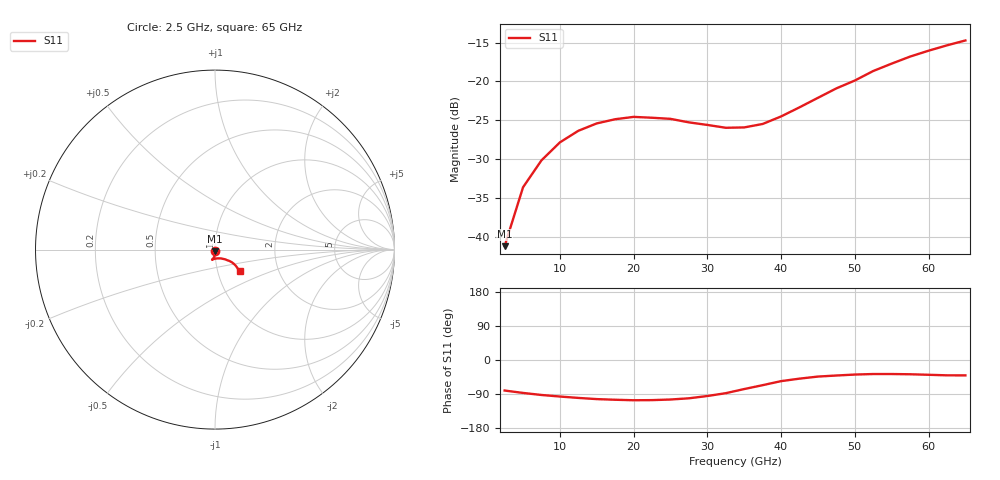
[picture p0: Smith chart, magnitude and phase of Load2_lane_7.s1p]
! File created by SignalIntegrity v1.5.1: Signal and Power Integrity Tools
! https://github.com/Nubis-Communications/SignalIntegrity
# MHz S MA R 50.0
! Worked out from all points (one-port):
!   26 points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, 2.5 GHz to 65 GHz, reference 50 ohm
!   lowest |S11| = -41.2 dB at 2.5 GHz (marker M1), VSWR 1.02, Z = 50.1 - j0.859 ohm
!   |S11| at or under -10 dB: start of sweep to end of sweep
2500  0.008685 -80.6
5000  0.02081 -86.9
7500  0.03102 -92.3
10000  0.0405 -96.4
12500  0.0481 -100.1
15000  0.05366 -103.2
17500  0.0571 -104.9
20000  0.05911 -106.2
22500  0.05836 -105.9
25000  0.05741 -104.3
27500  0.05448 -101.1
30000  0.05246 -95.0
32500  0.05029 -87.5
35000  0.05056 -76.7
37500  0.05321 -66.4
40000  0.0595 -55.8
42500  0.06812 -49.2
45000  0.07842 -43.7
47500  0.09023 -40.9
50000  0.1014 -38.4
52500  0.1167 -37.0
55000  0.1303 -37.0
57500  0.1446 -37.7
60000  0.1578 -39.0
62500  0.1708 -40.5
65000  0.1837 -40.6
